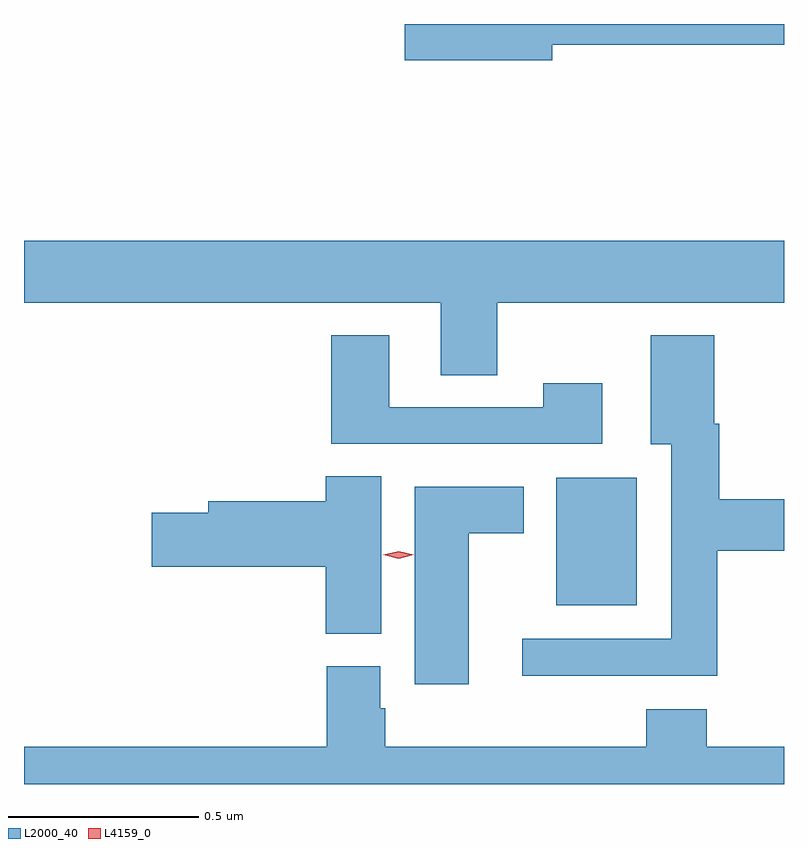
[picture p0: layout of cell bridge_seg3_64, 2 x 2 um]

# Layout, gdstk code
import gdstk
lib = gdstk.Library(unit=1e-6, precision=1e-09)
def R(c, l, rs):  # rectangles x0, y0, x1, y1
    for r in rs: c.add(gdstk.rectangle(r[:2], r[2:], *l))
def P(c, l, *ps):  # polygons
    for p in ps: c.add(gdstk.Polygon(p, *l))
L2000_40 = (2000, 40)
L4159_0 = (4159, 0)

bridge_seg3_64 = lib.new_cell('bridge_seg3_64')
R(bridge_seg3_64, L2000_40, [(619.724,704.117,619.936,704.452)])
P(bridge_seg3_64, L2000_40, [(619.714,705.592),(620.324,705.592),(620.324,705.646),(619.326,705.646),(619.326,705.55),(619.714,705.55)],
  [(619.569,704.912),(620.324,704.912),(620.324,705.076),(618.324,705.076),(618.324,704.912),(619.421,704.912),(619.421,704.722),(619.569,704.722)],
  [(619.846,704.701),(619.69,704.701),(619.69,704.637),(619.285,704.637),(619.285,704.827),(619.133,704.827),(619.133,704.541),(619.846,704.541)],
  [(620.148,704.26),(620.324,704.26),(620.324,704.396),(620.153,704.396),(620.153,704.594),(620.14,704.594),(620.14,704.827),(619.973,704.827),(619.973,704.54),(620.027,704.54),(620.027,704.028),(619.635,704.028),(619.635,703.931),(620.148,703.931)],
  [(619.264,704.456),(619.118,704.456),(619.118,704.39),(618.809,704.39),(618.809,704.36),(618.66,704.36),(618.66,704.218),(619.118,704.218),(619.118,704.041),(619.264,704.041)],
  [(619.495,704.306),(619.639,704.306),(619.639,704.428),(619.352,704.428),(619.352,703.908),(619.495,703.908)],
  [(620.324,703.744),(620.121,703.744),(620.121,703.843),(619.961,703.843),(619.961,703.744),(619.274,703.744),(619.274,703.845),(619.261,703.845),(619.261,703.956),(619.121,703.956),(619.121,703.744),(618.324,703.744),(618.324,703.646),(620.324,703.646)])
P(bridge_seg3_64, L4159_0, [(619.31,704.239),(619.27,704.249),(619.27,704.249),(619.27,704.249),(619.31,704.259),(619.349,704.249),(619.349,704.249),(619.349,704.249)])

lib.write_gds('bridge_seg3_64.gds')
